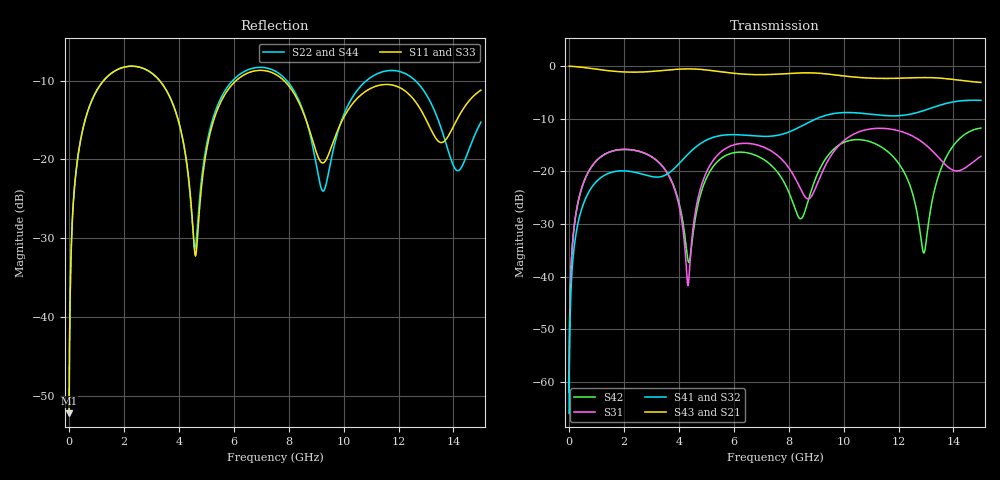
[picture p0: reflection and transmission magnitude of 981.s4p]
! Created with skrf 1.8.0 (http://scikit-rf.org).
# GHz S RI R 50.0
!freq ReS11 ImS11 ReS12 ImS12 ReS13 ImS13
! ReS14 ImS14
! ReS21 ImS21 ReS22 ImS22 ReS23 ImS23
! ReS24 ImS24
! ReS31 ImS31 ReS32 ImS32 ReS33 ImS33
! ReS34 ImS34
! ReS41 ImS41 ReS42 ImS42 ReS43 ImS43
! ReS44 ImS44
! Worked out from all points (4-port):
!   2499 points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, 5 MHz to 15 GHz, reference 50 ohm
!   strongest paths, dB at 5 MHz, 3.476 GHz, 7.19 GHz, 11.1 GHz, 15 GHz:
!     S43: 0.0, -0.8, -1.6, -2.3, -3.1
!     S21: 0.0, -0.8, -1.6, -2.3, -3.1
!     S41: -66.0, -20.8, -13.4, -9.2, -6.5
!     S32: -66.0, -20.8, -13.4, -9.2, -6.5
!     S31: -62.0, -19.5, -15.6, -11.9, -17.1
!     S42: -62.0, -19.5, -18.1, -14.6, -11.8
!   lowest |S11| = -52.2 dB at 5 MHz (marker M1), VSWR 1.00, Z = 50.2 + j0.148 ohm
!   |S11| at or under -10 dB: start of sweep to 1.261 GHz; 3.302 GHz to 6.085 GHz (2.783 GHz wide, 59.3 % of centre); 7.831 GHz to end of sweep
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0.005  0.00195 0.00147  0.998 -0.00378  9.94e-05 0.00079  -9.64e-05 -0.000493
       0.998 -0.00378  0.00195 0.00147  -9.64e-05 -0.000493  9.94e-05 0.00079
       9.94e-05 0.00079  -9.64e-05 -0.000493  0.00195 0.00147  0.998 -0.00378
       -9.64e-05 -0.000493  9.94e-05 0.00079  0.998 -0.00378  0.00195 0.00147
0.3126303  0.0321 0.0953  0.9559 -0.2336  0.0155 0.0458  -0.0128 -0.028
           0.9559 -0.2336  0.0322 0.0953  -0.0128 -0.028  0.0153 0.0459
           0.0155 0.0458  -0.0128 -0.028  0.0321 0.0953  0.9559 -0.2336
           -0.0128 -0.028  0.0153 0.0459  0.9559 -0.2336  0.0322 0.0953
1.369321  0.2841 0.1709  0.517 -0.7463  0.1367 0.058  -0.0939 -0.000592
          0.517 -0.7463  0.2845 0.1705  -0.0939 -0.000632  0.1357 0.0595
          0.1367 0.058  -0.0939 -0.000632  0.2841 0.1709  0.517 -0.7463
          -0.0939 -0.000592  0.1357 0.0595  0.517 -0.7463  0.2845 0.1705
4.495623  0.0261 -0.0309  -0.9287 -0.141  0.0131 0.0221  -0.0197 0.1586
          -0.9287 -0.141  0.0281 -0.0264  -0.0201 0.1585  -0.0121 0.0194
          0.0131 0.0221  -0.0201 0.1585  0.0273 -0.0309  -0.9287 -0.1412
          -0.0197 0.1586  -0.0121 0.0194  -0.9287 -0.1412  0.027 -0.0268
9.272614  0.0953 -0.00102  0.8404 0.1089  0.00288 0.1051  0.0335 -0.3337
          0.8404 0.1089  0.0631 -0.00129  0.0363 -0.334  -0.00992 0.1224
          0.00288 0.1051  0.0363 -0.334  0.0903 -0.00159  0.8405 0.1092
          0.0335 -0.3337  -0.00992 0.1224  0.8405 0.1092  0.0678 -0.00118
12.92414  0.1768 -0.0703  -0.4715 -0.6172  -0.0819 -0.1652  -0.2925 0.2399
          -0.4715 -0.6172  0.2128 -0.1702  -0.2939 0.2374  0.0146 0.00829
          -0.0819 -0.1652  -0.2939 0.2374  0.1737 -0.0662  -0.4728 -0.6177
          -0.2925 0.2399  0.0146 0.00829  -0.4728 -0.6177  0.2074 -0.1693
15  0.2619 0.0837  -0.6224 0.3191  0.1209 0.0688  0.267 0.3897
    -0.6224 0.3191  0.1535 0.0778  0.2633 0.3913  0.2378 0.0994
    0.1209 0.0688  0.2633 0.3913  0.2632 0.0852  -0.6226 0.3186
    0.267 0.3897  0.2378 0.0994  -0.6226 0.3186  0.1512 0.0787
